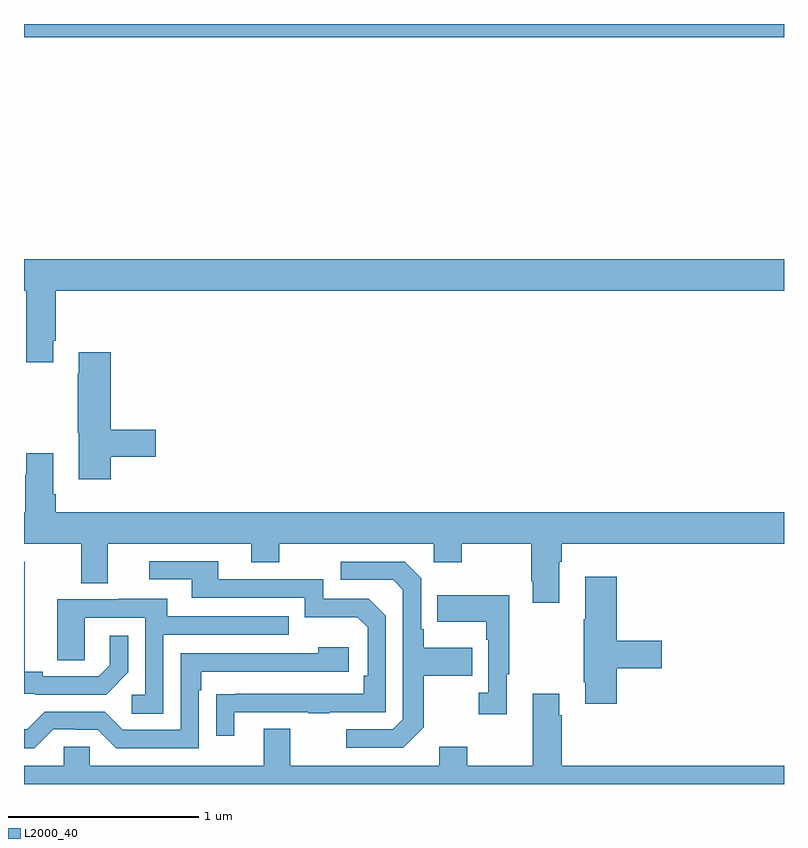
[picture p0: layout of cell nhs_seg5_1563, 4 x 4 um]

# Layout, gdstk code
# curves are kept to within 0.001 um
import gdstk
lib = gdstk.Library(unit=1e-6, precision=1e-09)
def R(c, l, rs):  # rectangles x0, y0, x1, y1
    for r in rs: c.add(gdstk.rectangle(r[:2], r[2:], *l))
def P(c, l, *ps):  # polygons
    for p in ps: c.add(gdstk.Polygon(p, *l))
L2000_40 = (2000, 40)

nhs_seg5_1563 = lib.new_cell('nhs_seg5_1563')
R(nhs_seg5_1563, L2000_40, [(205,888.728,209,888.799)])
P(nhs_seg5_1563, L2000_40, [(205.153,887.131),(205.166,887.131),(205.166,887.396),(209,887.396),(209,887.56),(205,887.56),(205,887.396),(205.013,887.396),(205.013,887.019),(205.153,887.019)],
  [(205.457,886.522),(205.693,886.522),(205.693,886.664),(205.457,886.664),(205.457,887.071),(205.289,887.071),(205.289,886.958),(205.282,886.958),(205.282,886.647),(205.289,886.647),(205.289,886.404),(205.457,886.404)],
  [(207.817,885.968),(207.83,885.968),(207.83,886.064),(209,886.064),(209,886.228),(205.166,886.228),(205.166,886.324),(205.153,886.324),(205.153,886.54),(205.013,886.54),(205.013,886.427),(205.006,886.427),(205.006,886.228),(205,886.228),(205,886.064),(205.301,886.064),(205.301,885.856),(205.441,885.856),(205.441,886.064),(206.195,886.064),(206.195,885.965),(206.343,885.965),(206.343,886.064),(207.156,886.064),(207.156,885.965),(207.303,885.965),(207.303,886.064),(207.67,886.064),(207.67,885.865),(207.677,885.865),(207.677,885.753),(207.817,885.753)],
  [(206.107,885.177),(206.497,885.177),(206.497,885.172),(206.609,885.172),(206.609,885.177),(206.904,885.177),(206.904,885.684),(206.814,885.774),(206.574,885.774),(206.574,885.876),(206.023,885.876),(206.023,885.972),(205.659,885.972),(205.659,885.876),(205.883,885.876),(205.883,885.78),(206.478,885.78),(206.478,885.677),(206.755,885.677),(206.808,885.624),(206.808,885.37),(206.788,885.37),(206.788,885.273),(206.011,885.272),(206.011,885.054),(206.107,885.054)],
  [(205.548,885.386),(205.548,885.58),(205.451,885.58),(205.451,885.423),(205.394,885.366),(205.099,885.366),(205.099,885.389),(205.003,885.389),(205.003,885.969),(205,885.969),(205,885.273),(205.06,885.273),(205.06,885.27),(205.432,885.27)],
  [(207.103,885.097),(207.103,885.37),(207.359,885.37),(207.359,885.517),(207.103,885.517),(207.103,885.613),(207.09,885.613),(207.09,885.882),(207.003,885.969),(206.667,885.969),(206.667,885.873),(206.943,885.873),(206.994,885.822),(206.994,885.141),(206.94,885.087),(206.697,885.087),(206.697,884.991),(206.997,884.991)],
  [(208.121,885.407),(208.357,885.407),(208.357,885.554),(208.121,885.554),(208.121,885.889),(207.953,885.889),(207.953,885.665),(207.946,885.665),(207.946,885.334),(207.953,885.334),(207.953,885.222),(208.121,885.222)],
  [(207.541,885.377),(207.553,885.377),(207.553,885.793),(207.175,885.793),(207.175,885.653),(207.432,885.653),(207.432,885.557),(207.444,885.557),(207.444,885.278),(207.393,885.278),(207.393,885.165),(207.541,885.165)],
  [(205.734,885.585),(206.393,885.585),(206.393,885.681),(205.753,885.681),(205.753,885.775),(205.499,885.775),(205.499,885.771),(205.175,885.771),(205.175,885.451),(205.32,885.451),(205.32,885.675),(205.638,885.675),(205.638,885.27),(205.566,885.27),(205.566,885.169),(205.734,885.169)],
  [(205.155,885.087),(205.271,885.087),(205.271,885.084),(205.389,885.084),(205.485,884.988),(205.92,884.988),(205.92,885.293),(205.933,885.293),(205.933,885.39),(206.71,885.39),(206.71,885.52),(206.549,885.52),(206.549,885.486),(205.824,885.486),(205.824,885.084),(205.521,885.084),(205.425,885.18),(205.11,885.18),(205.017,885.087),(205,885.087),(205,884.987),(205.055,884.987)],
  [(209,884.896),(207.83,884.896),(207.83,885.161),(207.817,885.161),(207.817,885.274),(207.677,885.274),(207.677,884.896),(207.333,884.896),(207.333,884.995),(207.185,884.995),(207.185,884.896),(206.401,884.896),(206.401,885.091),(206.261,885.091),(206.261,884.896),(205.347,884.896),(205.347,884.994),(205.209,884.994),(205.209,884.896),(205,884.896),(205,884.799),(209,884.799)])

lib.write_gds('nhs_seg5_1563.gds')
